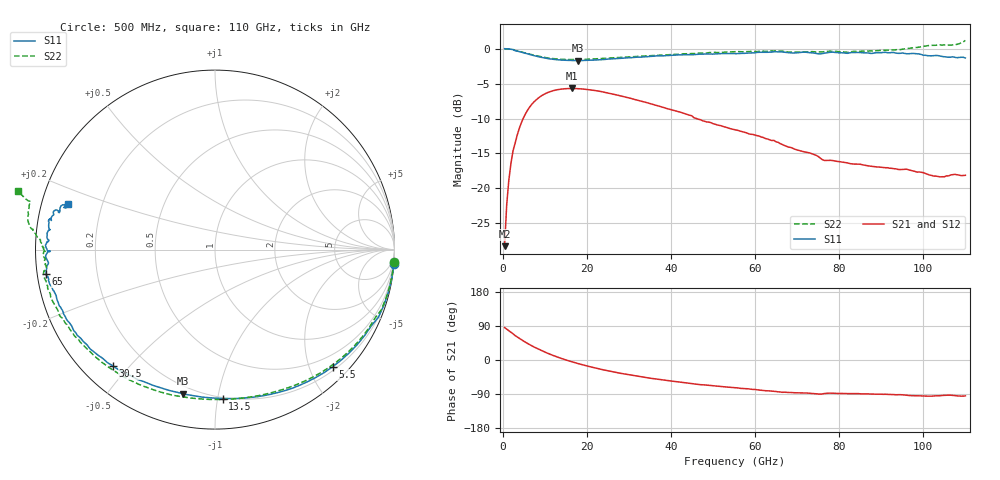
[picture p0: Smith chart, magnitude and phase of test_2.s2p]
#  GHZ  S  MA  R 50
! 1915934D06 QPHT09 360 um ID No. EG0520U_1212_6x60_2SDBCB2EV R/C 29 52 8/23/2019 1:18 PM
! Vds= 0.000 V Ids= 0.002 mA Vg1s= -1.000 V Ig1s= -0.00000 mA BiasType= Fixed_Vg_Vd
! JobName= EG0520 Calstds= GaAs BCB Calkit= EG2306
! WEIGHT 1
!File name = EG0520U_1212_6x60_2SDBCB2EV_1915934D06_RC2952_Vg_N1.0V_Vd_0v.s2p
!Base file name = EG0520U_1212_6x60_2SDBCB2EV_1915934D06_RC2952
!Date = 8/23/2019
!Time = 1:18 PM
!Test duration(min) = 0.15
!Test = S-Parameters
!MPTS version = 8.91.5
!Cal File =
!ComputerName = CMPE-LAB-6
!Comments =
!Attenuation = 0
!Z0 = 50
!Input Power(dBm) = -13.00
!Device ID = EG0520U_1212_6x60_2SDBCB2EV
!Row = 29
!Column = 52
!Technology = QPHT09
!Lot/Wafer = 1915934D06
!Gate Size = 360
!Mask = EG0520
!Cal Standards = GaAs BCB
!Cal Kit = EG2306
!Job Number = 20190821205423
!Device Type = FET
!set_Vg(v) = -1.000
!set_Vd(v) = 0.000
!file_name = EG0520U_1212_6x60_2SDBCB2EV_1915934D06_RC2952_Vg_N1.0V_Vd_0v.s2p
!Vd(V) = 0.000
!Vd(mA) = 0.002
!Vg(V) = -1.000
!Vg(mA) = -0.000
! Freq  S11Mag S11Ang  S21Mag  S21Ang  S12Mag  S12Ang  S22Mag  S22Ang
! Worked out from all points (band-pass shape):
!   220 points, 500 MHz to 110 GHz, reference 50 ohm
!   highest |S21| = -5.70 dB at 16.5 GHz (marker M1); lowest = -28.3 dB at 500 MHz (marker M2)
!   |S21| within 3 dB of the highest: 6.072 GHz to 39.87 GHz (33.79 GHz wide, 147 % of centre)
!   lowest |S11| = -1.7 dB at 18 GHz (marker M3), VSWR 10.25, Z = 7.96 - j39.5 ohm
!   |S11| at or under -10 dB: nowhere
!   |S22| runs from -1.6 to 1.2 dB; largest |S21 - S12| = 0.0037
!   S11 on the Smith chart (normalised r, x): 500 MHz: 0, -25; 5.5 GHz: 0.26, -2.39; 13.5 GHz: 0.19, -1.03; 30.5 GHz: 0.09, -0.45; 65 GHz: 0.03, -0.07; 110 GHz: 0.08, +0.15
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0.5  0.9997 -4.6  0.0386 85.6  0.0386 85.6  0.9991 -4.0
1  0.9977 -9.1  0.0767 81.4  0.0768 81.4  0.9971 -8.1
2  0.9907 -18.1  0.1506 73.2  0.1506 73.1  0.9904 -16.0
3.5  0.9613 -29.9  0.2411 60.7  0.2409 60.6  0.9632 -26.5
5.5  0.9252 -44.9  0.3436 46.6  0.3433 46.6  0.9298 -39.8
9  0.8699 -66.3  0.4545 26.2  0.4542 26.2  0.8774 -59.4
13.5  0.8307 -87.1  0.5116 6.0  0.5109 5.9  0.8415 -79.2
16.5  0.823 -97.9  0.5188 -4.8  0.5181 -4.9  0.8352 -90.1
18  0.8223 -102.6  0.5172 -9.6  0.5165 -9.8  0.8355 -95.1
19  0.8231 -105.5  0.5147 -12.6  0.5137 -12.8  0.8371 -98.2
24  0.8355 -118.3  0.4892 -26.1  0.4882 -26.2  0.8512 -112.3
30.5  0.8619 -131.2  0.4408 -39.8  0.4401 -40.0  0.8744 -127.2
37  0.889 -141.6  0.39 -50.9  0.3892 -51.2  0.8972 -139.3
46.5  0.9131 -154.6  0.3128 -64.4  0.3128 -64.6  0.9284 -153.6
55.5  0.9213 -163.9  0.2617 -73.3  0.2606 -73.6  0.9516 -163.2
65  0.9512 -171.7  0.2155 -83.1  0.2157 -83.7  0.9658 -171.3
73.5  0.9341 -179.0  0.1772 -88.4  0.1769 -88.5  0.9529 -176.1
76.5  0.9291 -179.3  0.1585 -88.5  0.1585 -88.4  0.952 -177.3
92  0.9343 169.5  0.1395 -90.9  0.1395 -90.6  0.9772 176.6
99.5  0.909 165.9  0.1305 -94.7  0.1307 -94.6  1.033 173.3
107.5  0.8674 164.2  0.1261 -93.8  0.1264 -94.0  1.064 165.4
110  0.8578 162.9  0.1241 -94.6  0.124 -94.6  1.145 163.4
